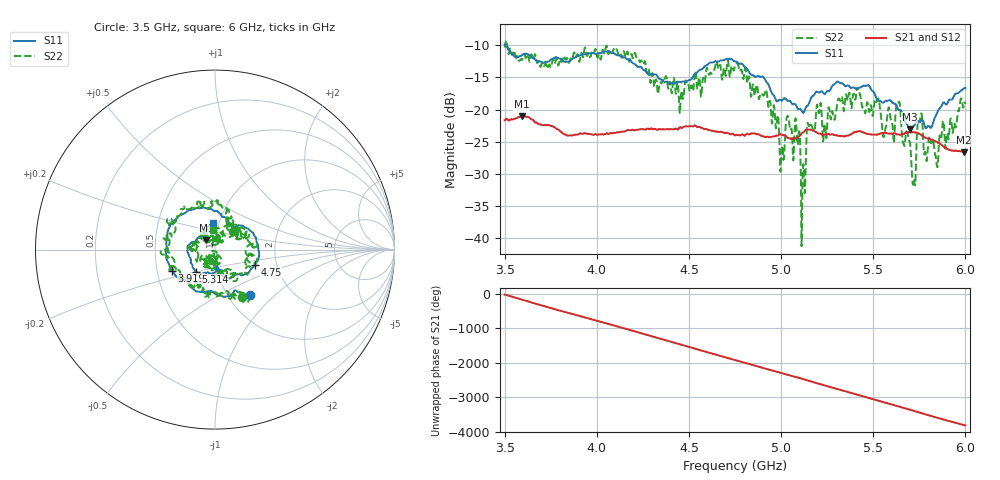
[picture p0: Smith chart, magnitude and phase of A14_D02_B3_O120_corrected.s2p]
! Created with skrf 1.9.0 (http://scikit-rf.org).
# Hz S RI R 50.0
!freq ReS11 ImS11 ReS21 ImS21 ReS12 ImS12 ReS22 ImS22
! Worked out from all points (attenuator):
!   1601 points, 3.5 GHz to 6 GHz, reference 50 ohm
!   highest |S21| = -21.05 dB at 3.592 GHz (marker M1); lowest = -26.7 dB at 5.994 GHz (marker M2)
!   lowest |S11| = -23.1 dB at 5.698 GHz (marker M3), VSWR 1.15, Z = 45.2 + j4.71 ohm
!   |S11| at or under -10 dB: 3.502 GHz to end of sweep
!   |S22| runs from -41.3 to -9.3 dB; largest |S21 - S12| = 0.001
!   S11 on the Smith chart (normalised r, x): 3.5 GHz: 1.26, -0.71; 3.919 GHz: 0.60, -0.15; 4.75 GHz: 1.54, -0.28; 5.314 GHz: 0.78, -0.20; 6 GHz: 0.94, +0.28
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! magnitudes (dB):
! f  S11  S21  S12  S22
! 3.5 GHz  -9.9  -21.7  -21.7  -10.4
! 3.592 GHz  -11.6  -21.0  -21.1  -12.2
! 3.917 GHz  -11.5  -23.7  -23.7  -11.2
! 3.919 GHz  -11.4  -23.7  -23.8  -11.2
! 4.334 GHz  -15.1  -23.1  -23.0  -17.3
! 4.75 GHz  -12.5  -24.0  -24.0  -13.2
! 4.916 GHz  -15.5  -24.3  -24.3  -17.0
! 5.005 GHz  -18.6  -23.9  -23.9  -25.8
! 5.034 GHz  -18.6  -24.4  -24.3  -21.1
! 5.088 GHz  -19.7  -24.4  -24.4  -25.1
! 5.12 GHz  -20.5  -23.6  -23.5  -28.5
! 5.148 GHz  -19.2  -23.1  -23.1  -22.5
! 5.167 GHz  -18.0  -23.2  -23.2  -22.6
! 5.314 GHz  -15.8  -24.1  -24.1  -18.3
! 5.584 GHz  -18.6  -23.7  -23.7  -19.6
! 5.636 GHz  -20.0  -23.8  -23.8  -19.0
! 5.698 GHz  -23.1  -23.5  -23.5  -25.0
! 5.72 GHz  -22.5  -23.5  -23.5  -30.8
! 5.752 GHz  -22.0  -23.8  -23.8  -21.7
! 5.842 GHz  -20.8  -25.0  -24.9  -27.9
! 5.994 GHz  -16.7  -26.7  -26.6  -19.1
! 6 GHz  -16.6  -26.7  -26.6  -19.2
